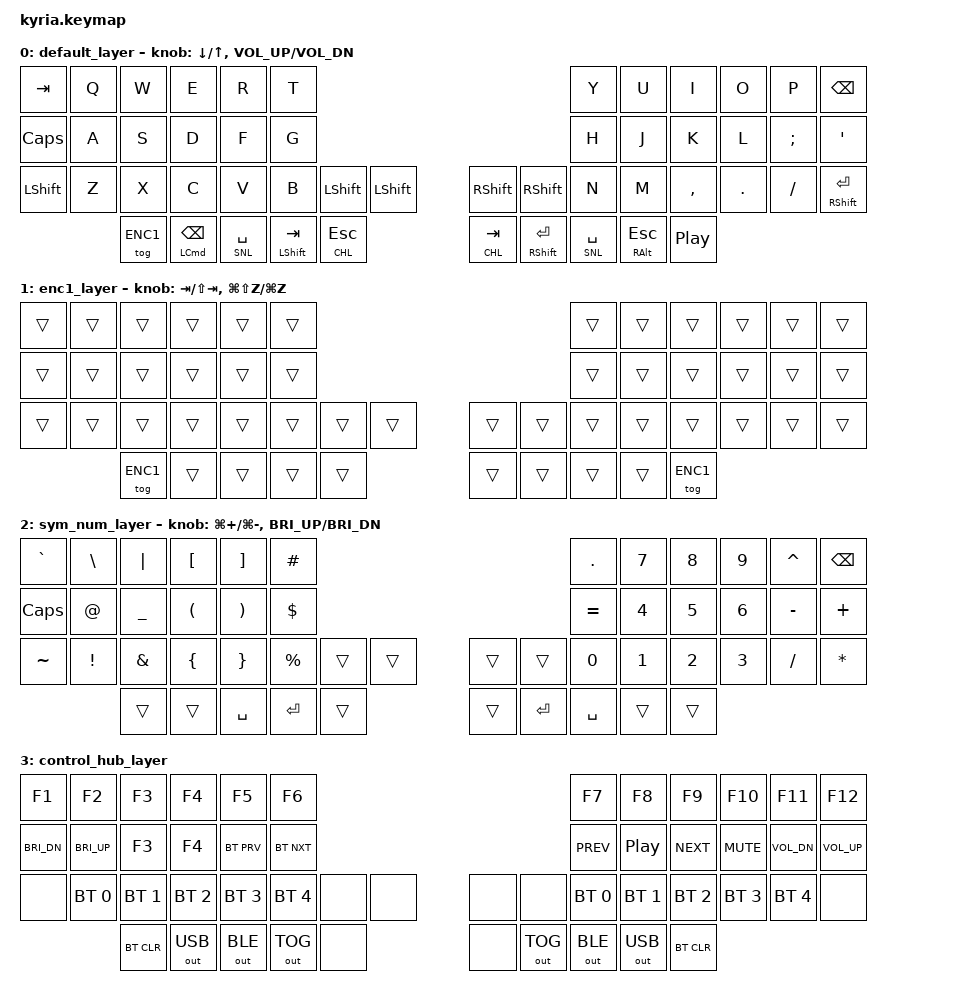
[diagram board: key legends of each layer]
/*
 * Copyright (c) 2020 The ZMK Contributors
 *
 * SPDX-License-Identifier: MIT
 */

#include <behaviors.dtsi>
#include <dt-bindings/zmk/keys.h>
#include <dt-bindings/zmk/bt.h>
#include <dt-bindings/zmk/outputs.h>

#define BASE 0
#define ENC1 1
#define SNL  2
#define CHL  3
// Symbol Number Layer (SNL)
// Control Hub Layer (CHL)

#define SNL_SPC &lt SNL SPACE
#define CHL_ESC &lt CHL ESC
#define CHL_TAB &lt CHL TAB
#define OPT_ESC &mt RALT ESC
#define CTRL_ESC &mt LCTRL ESC
#define CMD_BSPC &mt LCMD BSPC
#define SHFT_RET &mt RSHFT RET
#define SHFT_TAB &mt LSHFT TAB

/ {
	keymap {
		compatible = "zmk,keymap";

		default_layer {
// ---------------------------------------------------------------------------------------------------------------------------------
// |   TAB     |  Q  |  W  |  E  |  R  |  T  |                                             |  Y  |  U  |  I  |  O  |  P  |  BSPC    |
// | CTRL_ESC  |  A  |  S  |  D  |  F  |  G  |                                             |  H  |  J  |  K  |  L  |  ;  |   '      |
// | SHFT_BSPC |  Z  |  X  |  C  |  V  |  B  |   SHIFT   |  SHIFT  |  |  SHIFT  |   SHIFT  |  N  |  M  |  ,  |  .  |  /  | SHFT_RET |
//              |ENC1 | CMD_BSPC | SPACE/SNL | SHFT_TAB  | ESC/CHL |  | TAB/CHL | SHFT_RET | SPACE/SNL | OPT_ESC | PLAY|
			bindings = <
	&kp TAB   &kp Q &kp W &kp E &kp R &kp T                                                &kp Y &kp U  &kp I     &kp O   &kp P    &kp BSPC
	&kp CAPS  &kp A &kp S &kp D &kp F &kp G                                                &kp H &kp J  &kp K     &kp L   &kp SEMI &kp SQT
	&kp LSHFT &kp Z &kp X &kp C &kp V &kp B &kp LSHFT &kp LSHFT        &kp RSHFT &kp RSHFT &kp N &kp M  &kp COMMA &kp DOT &kp FSLH SHFT_RET
                  &tog ENC1 CMD_BSPC SNL_SPC SHFT_TAB CHL_ESC        CHL_TAB  SHFT_RET SNL_SPC OPT_ESC &kp C_PP
			>;

			sensor-bindings = <&inc_dec_kp DOWN UP &inc_dec_kp C_VOL_UP C_VOL_DN>;
		};

		enc1_layer {
			bindings = <
	&trans &trans &trans &trans &trans &trans                              &trans &trans &trans &trans &trans &trans
	&trans &trans &trans &trans &trans &trans                              &trans &trans &trans &trans &trans &trans
	&trans &trans &trans &trans &trans &trans &trans &trans  &trans &trans &trans &trans &trans &trans &trans &trans
	                  &tog ENC1 &trans &trans &trans &trans  &trans &trans &trans &trans &tog ENC1
			>;

			sensor-bindings = <&inc_dec_kp TAB LS(TAB) &inc_dec_kp LG(LS(Z)) LG(Z)>;
		};

    sym_num_layer {
// ---------------------------------------------------------------------------------------------------------------------------------
// |  `   |  \  |  |  |  [  |  ]  |  #  |                                          |  .  |  7  |  8  |  9  |  ^  | *BSPC |
// | *ESC |  @  |  _  |  (  |  )  |  $  |                                          |  =  |  4  |  5  |  6  |  -  |  +    |
// |  ~   |  !  |  &  |  {  |  }  |  %  |   ---   |   ---   |  |   ---   |   ---   |  0  |  1  |  2  |  3  |  /  |  *    |
//                    | ENC | --- |SPACE|   RET   |   ---   |  |   ---   |   RET   |SPACE| --- | ENC |
			bindings = <
	&kp GRAVE &kp BSLH &kp PIPE  &kp LBKT &kp RBKT &kp HASH                                  &kp DOT   &kp N7 &kp N8 &kp N9 &kp CARET &kp BSPC
	&kp CAPS  &kp AT   &kp UNDER &kp LPAR &kp RPAR &kp DLLR                                  &kp EQUAL &kp N4 &kp N5 &kp N6 &kp MINUS &kp PLUS
	&kp TILDE &kp EXCL &kp AMPS  &kp LBRC &kp RBRC &kp PRCNT &trans  &trans    &trans &trans &kp N0    &kp N1 &kp N2 &kp N3 &kp FSLH &kp ASTRK
	                     &trans  &trans  &kp SPACE           &kp RET &trans    &trans &kp RET          &kp SPACE  &trans  &trans
			>;

			sensor-bindings = <&inc_dec_kp LG(PLUS) LG(MINUS) &inc_dec_kp C_BRI_UP C_BRI_DN>;
		};

    control_hub_layer {
// -----------------------------------------------------------------------------------------
// |    F1    |    F2    |    F3    |    F4    |    F5    |    F6    |                                  |    F7    |    F8    |    F9    |    F10   |    F11   |    F12   |
// | C_BRI_DN | C_BRI_UP |    MC    |    TS    | BT_PREV  | BT_NEXT  |                                  |  C_PREV  |   C_PP   |  C_NEXT  |  C_MUTE  | C_VOL_DN | C_VOL_UP |
// |          |   BT1    |   BT2    |   BT3    |   BT4    |   BT5    |   ---   | --- |  | --- |   ---   |    BT1   |    BT2   |    BT3   |    BT4   |    BT5   |          |
//                                  |  BT_CLR  | OUT_USB  | OUT_BLE  | OUT_TOG | --- |  | --- | OUT_TOG | OUT_BLE  | OUT_USB  |  BT_CLR  |

      bindings = <
  &kp F1     &kp F2     &kp F3     &kp F4     &kp F5     &kp F6                                     &kp F7     &kp F8     &kp F9     &kp F10    &kp F11    &kp F12
  &kp C_BRI_DN &kp C_BRI_UP &kp F3 &kp F4     &bt BT_PRV &bt BT_NXT                                 &kp C_PREV &kp C_PP   &kp C_NEXT &kp C_MUTE &kp C_VOL_DN &kp C_VOL_UP
  &none &bt BT_SEL 0 &bt BT_SEL 1 &bt BT_SEL 2 &bt BT_SEL 3 &bt BT_SEL 4 &none &none   &none &none  &bt BT_SEL 0 &bt BT_SEL 1 &bt BT_SEL 2 &bt BT_SEL 3 &bt BT_SEL 4 &none
                            &bt BT_CLR &out OUT_USB &out OUT_BLE &out OUT_TOG  &none   &none &out OUT_TOG &out OUT_BLE &out OUT_USB &bt BT_CLR
      >;
    };
	};

  // `steps` indicate how many encoder pulses there are in a single complete rotation of the encoder
	// `triggers-per-rotation` indicate how many times the encoder should trigger the behavior in your keymap per rotation
	// for tactile encoders that have detents, the `triggers-per-rotation` would match the number of detents on the encoder

	left_encoder: encoder_left {
    compatible = "alps,ec11";
    label = "LEFT_ENCODER";
    a-gpios = <&pro_micro 21 (GPIO_ACTIVE_HIGH | GPIO_PULL_UP)>;
    b-gpios = <&pro_micro 20 (GPIO_ACTIVE_HIGH | GPIO_PULL_UP)>;
    steps = <80>;
  };

  right_encoder: encoder_right {
    compatible = "alps,ec11";
    label = "RIGHT_ENCODER";
    a-gpios = <&pro_micro 20 (GPIO_ACTIVE_HIGH | GPIO_PULL_UP)>;
    b-gpios = <&pro_micro 21 (GPIO_ACTIVE_HIGH | GPIO_PULL_UP)>;
    steps = <80>;
  };

  sensors {
    compatible = "zmk,keymap-sensors";
    sensors = <&left_encoder &right_encoder>;
    triggers-per-rotation = <36>;
  };
};
